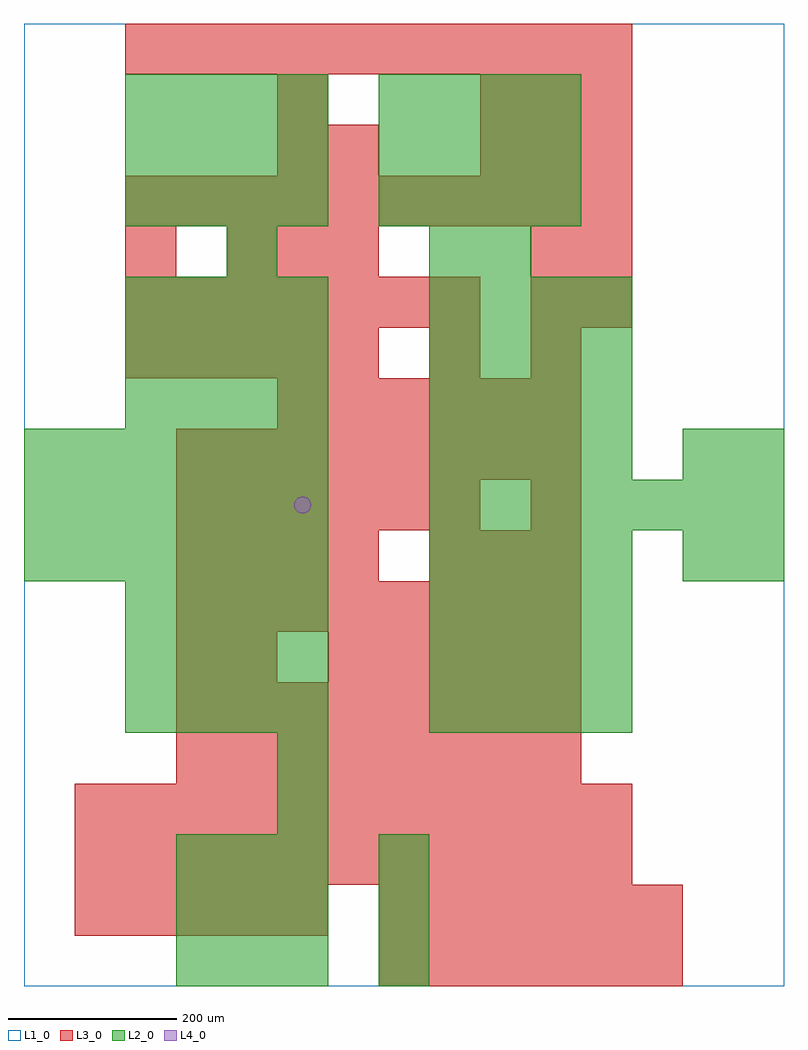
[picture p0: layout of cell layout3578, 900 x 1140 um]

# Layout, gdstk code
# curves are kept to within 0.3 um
import gdstk
lib = gdstk.Library(unit=1e-6, precision=1e-09)
def R(c, l, rs):  # rectangles x0, y0, x1, y1
    for r in rs: c.add(gdstk.rectangle(r[:2], r[2:], *l))
def A(c, l, x, y, w, h, nx, ny, dx, dy):  # array of equal rectangles
    R(c, l, [(x+i*dx, y+j*dy, x+i*dx+w, y+j*dy+h) for i in range(nx) for j in range(ny)])
def P(c, l, *ps):  # polygons
    for p in ps: c.add(gdstk.Polygon(p, *l))
L1_0 = (1, 0)
L2_0 = (2, 0)
L3_0 = (3, 0)
L4_0 = (4, 0)

layout3578 = lib.new_cell('layout3578')
R(layout3578, L1_0, [(0,0,900,1140)])
A(layout3578, L2_0, 180, 0, 60, 60, 3, 3, 60, 60)
A(layout3578, L2_0, 420, 0, 60, 60, 1, 3, 0, 60)
A(layout3578, L2_0, 120, 300, 60, 60, 4, 3, 60, 60)
A(layout3578, L2_0, 480, 300, 60, 60, 4, 4, 60, 60)
A(layout3578, L2_0, 0, 480, 60, 60, 6, 3, 60, 60)
A(layout3578, L2_0, 480, 540, 60, 60, 7, 1, 60, 0)
A(layout3578, L2_0, 480, 600, 60, 60, 4, 4, 60, 60)
A(layout3578, L2_0, 120, 660, 60, 60, 4, 3, 60, 60)
A(layout3578, L2_0, 120, 900, 60, 60, 4, 3, 60, 60)
A(layout3578, L2_0, 420, 900, 60, 60, 4, 3, 60, 60)
R(layout3578, L2_0, [(300,180,360,240), (300,240,360,300), (780,480,840,540), (840,480,900,540), (780,600,840,660), (840,600,900,660), (240,840,300,900), (480,840,540,900), (540,840,600,900)])
A(layout3578, L3_0, 420, 0, 60, 60, 6, 2, 60, 60)
A(layout3578, L3_0, 60, 60, 60, 60, 5, 1, 60, 0)
A(layout3578, L3_0, 60, 120, 60, 60, 11, 2, 60, 60)
A(layout3578, L3_0, 180, 240, 60, 60, 8, 2, 60, 60)
A(layout3578, L3_0, 360, 360, 60, 60, 5, 1, 60, 0)
A(layout3578, L3_0, 180, 420, 60, 60, 8, 2, 60, 180)
A(layout3578, L3_0, 180, 480, 60, 60, 4, 1, 60, 0)
A(layout3578, L3_0, 480, 480, 60, 60, 3, 1, 60, 0)
A(layout3578, L3_0, 180, 540, 60, 60, 6, 1, 60, 0)
A(layout3578, L3_0, 300, 660, 60, 60, 6, 1, 60, 0)
A(layout3578, L3_0, 120, 720, 60, 60, 5, 1, 60, 0)
A(layout3578, L3_0, 600, 720, 60, 60, 1, 3, 0, 60)
A(layout3578, L3_0, 120, 780, 60, 60, 7, 1, 60, 0)
A(layout3578, L3_0, 240, 840, 60, 60, 3, 1, 60, 0)
A(layout3578, L3_0, 120, 900, 60, 60, 10, 2, 60, 180)
A(layout3578, L3_0, 540, 960, 60, 60, 3, 2, 60, 60)
R(layout3578, L3_0, [(180,360,240,420), (240,360,300,420), (600,540,660,600), (480,720,540,780), (660,780,720,840), (120,840,180,900), (660,840,720,900), (300,960,360,1020), (360,960,420,1020), (300,1020,360,1080)])
P(layout3578, L4_0, [(340,570),(339.239,573.827),(337.071,577.071),(333.827,579.239),(330,580),(326.173,579.239),(322.929,577.071),(320.761,573.827),(320,570),(320.761,566.173),(322.929,562.929),(326.173,560.761),(330,560),(333.827,560.761),(337.071,562.929),(339.239,566.173)])

lib.write_gds('layout3578.gds')
